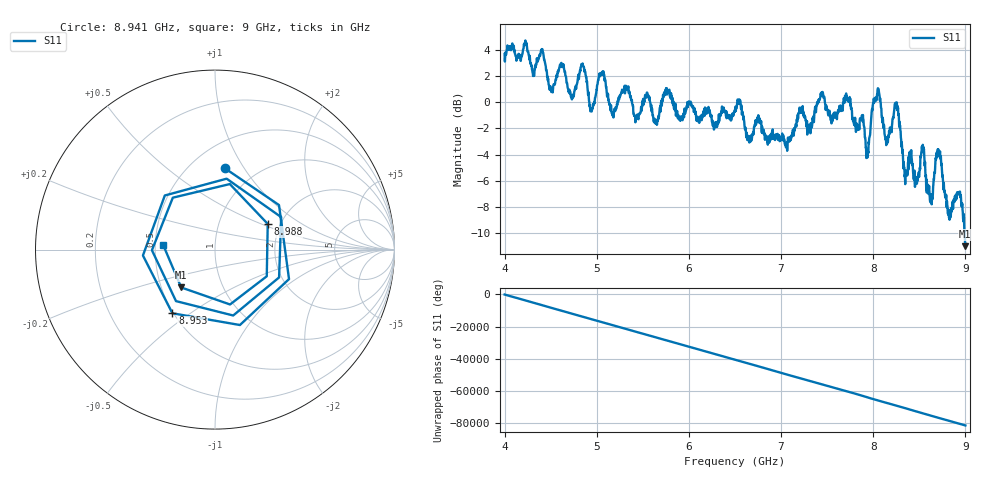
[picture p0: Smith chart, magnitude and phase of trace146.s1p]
! Created with skrf 1.8.0 (http://scikit-rf.org).
# Hz S RI R 50.0
!freq ReS11 ImS11
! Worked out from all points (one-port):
!   1601 points, 4 GHz to 9 GHz, reference 50 ohm
!   lowest |S11| = -11.0 dB at 8.997 GHz (marker M1), VSWR 1.79, Z = 31.6 - j14.5 ohm
!   |S11| at or under -10 dB: 8.99406 GHz to end of sweep
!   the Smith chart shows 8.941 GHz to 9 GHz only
!   S11 on the Smith chart (normalised r, x): 8.941 GHz: 0.72, +0.83; 8.953 GHz: 0.49, -0.43; 8.988 GHz: 1.72, +0.55; 9 GHz: 0.55, +0.03
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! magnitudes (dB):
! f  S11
! 4 GHz  3.7
! 4.4 GHz  3.9
! 4.503 GHz  0.9
! 4.625 GHz  2.7
! 4.731 GHz  0.2
! 4.85 GHz  2.8
! 4.944 GHz  -0.7
! 5.047 GHz  2.1
! 5.25 GHz  0.5
! 5.875 GHz  -1.0
! 6.5 GHz  -0.7
! 7.125 GHz  -2.5
! 7.444 GHz  0.7
! 7.75 GHz  0.3
! 7.934 GHz  -3.9
! 8.041 GHz  0.6
! 8.147 GHz  -2.9
! 8.253 GHz  -0.4
! 8.375 GHz  -5.1
! 8.538 GHz  -3.3
! 8.622 GHz  -7.6
! 8.709 GHz  -3.7
! 8.822 GHz  -8.8
! 8.941 GHz  -6.8
! 8.953 GHz  -7.4
! 8.988 GHz  -9.7
! 8.997 GHz  -11.0
! 9 GHz  -10.8
